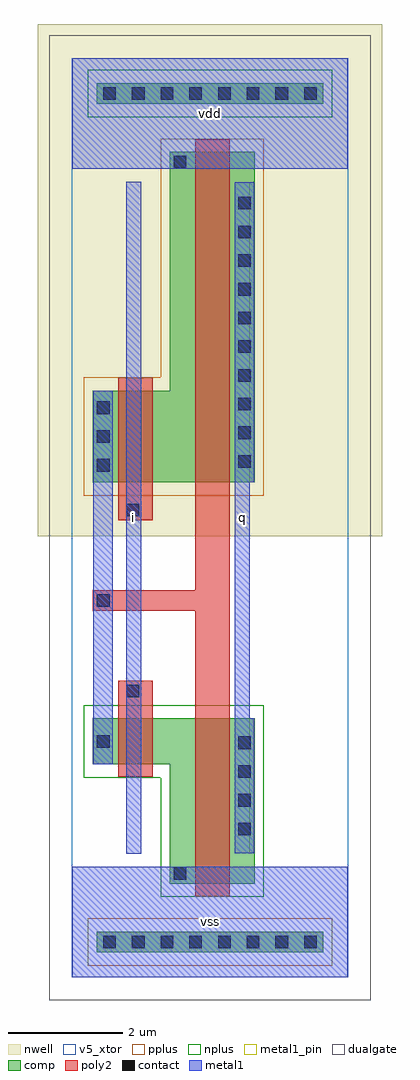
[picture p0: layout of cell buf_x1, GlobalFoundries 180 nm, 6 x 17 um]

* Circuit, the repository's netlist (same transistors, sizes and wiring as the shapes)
* buf_x1
.subckt buf_x1 vdd vss i q
Mn1 ni i vss vss nfet_06v0 l=0.6um w=0.8um
Mn2_0 vss ni q vss nfet_06v0 l=0.6um w=2.88um
Mp1 ni i vdd vdd pfet_06v0 l=0.6um w=1.6um
Mp2_0 vdd ni q vdd pfet_06v0 l=0.6um w=5.76um
.ends buf_x1

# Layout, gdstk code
import gdstk
lib = gdstk.Library(unit=1e-6, precision=1e-09)
def R(c, l, rs):  # rectangles x0, y0, x1, y1
    for r in rs: c.add(gdstk.rectangle(r[:2], r[2:], *l))
def A(c, l, x, y, w, h, nx, ny, dx, dy):  # array of equal rectangles
    R(c, l, [(x+i*dx, y+j*dy, x+i*dx+w, y+j*dy+h) for i in range(nx) for j in range(ny)])
def P(c, l, *ps):  # polygons
    for p in ps: c.add(gdstk.Polygon(p, *l))
nwell = (21, 0)
comp = (22, 0)
poly2 = (30, 0)
pplus = (31, 0)
nplus = (32, 0)
contact = (33, 0)
metal1 = (34, 0)
metal1_pin = (34, 10)
dualgate = (55, 0)
v5_xtor = (112, 1)

buf_x1 = lib.new_cell('buf_x1')
R(buf_x1, nwell, [(-0.6,7.68,5.4,16.6)])
R(buf_x1, comp, [(0.43,0.43,4.37,0.79), (0.43,15.21,4.37,15.57)])
P(buf_x1, comp, [(0.36,8.615),(0.36,10.215),(1.7,10.215),(1.7,14.375),(3.18,14.375),(3.18,8.615)],
  [(1.7,1.625),(1.7,3.705),(0.36,3.705),(0.36,4.505),(3.18,4.505),(3.18,1.625)])
R(buf_x1, poly2, [(0.8,3.485,1.4,5.165), (0.8,7.955,1.4,10.435)])
P(buf_x1, poly2, [(2.14,1.405),(2.14,6.38),(0.36,6.38),(0.36,6.74),(2.14,6.74),(2.14,14.595),(2.74,14.595),(2.74,1.405)])
R(buf_x1, pplus, [(0.27,0.2,4.53,1.02)])
P(buf_x1, pplus, [(0.2,8.385),(0.2,10.445),(1.54,10.445),(1.54,14.605),(3.34,14.605),(3.34,8.385)])
R(buf_x1, nplus, [(0.27,14.98,4.53,15.8)])
P(buf_x1, nplus, [(1.54,1.395),(1.54,3.475),(0.2,3.475),(0.2,4.735),(3.34,4.735),(3.34,1.395)])
A(buf_x1, contact, 0.54, 0.5, 0.22, 0.22, 8, 2, 0.5, 14.78)
A(buf_x1, contact, 2.89, 2.47, 0.22, 0.22, 1, 4, 0, 0.5)
A(buf_x1, contact, 0.43, 8.805, 0.22, 0.22, 1, 3, 0, 0.5)
A(buf_x1, contact, 2.89, 8.87, 0.22, 0.22, 1, 10, 0, 0.5)
R(buf_x1, contact, [(1.77,1.695,1.99,1.915), (0.43,3.995,0.65,4.215), (0.945,4.875,1.165,5.095), (0.43,6.45,0.65,6.67), (0.945,8.025,1.165,8.245), (1.77,14.085,1.99,14.305)])
R(buf_x1, metal1, [(0,0,4.8,1.92), (0.94,2.15,1.2,13.85), (0.37,3.705,0.71,10.215), (0,14.08,4.8,16)])
P(buf_x1, metal1, [(2.83,2.155),(2.83,13.845),(3.17,13.845),(3.17,8.615),(3.09,8.615),(3.09,4.505),(3.17,4.505),(3.17,2.155)])
R(buf_x1, metal1_pin, [(0,0,4.8,1.92), (0.94,2.15,1.2,13.85), (2.83,2.155,3.09,13.845), (0,14.08,4.8,16)])
R(buf_x1, dualgate, [(-0.4,-0.4,5.2,16.4)])
R(buf_x1, v5_xtor, [(-0.005,-0.005,4.805,16.005)])
buf_x1.add(gdstk.Label('vdd', (2.4,15.04), layer=34, texttype=10))
buf_x1.add(gdstk.Label('vss', (2.4,0.96), layer=34, texttype=10))
buf_x1.add(gdstk.Label('i', (1.07,8), layer=34, texttype=10))
buf_x1.add(gdstk.Label('q', (2.96,8), layer=34, texttype=10))

lib.write_gds('buf_x1.gds')
